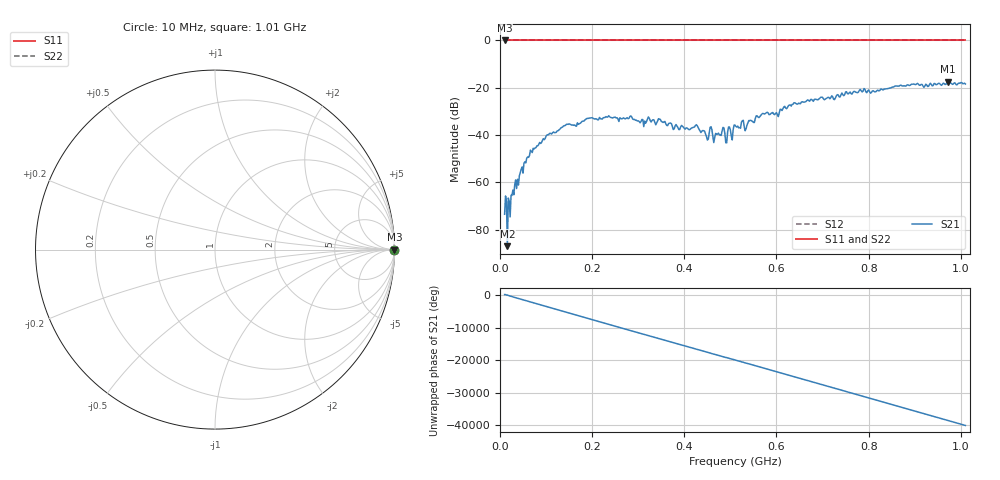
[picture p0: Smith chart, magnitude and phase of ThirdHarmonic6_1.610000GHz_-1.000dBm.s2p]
! 8/16/2025 7:12:50 PM
! C:\ANRITSUVNA\TEMP\TEMP.S2P
! CHANNEL.1
! TR.MEASUREMENT
! RAW.DATA
! RF.CORRECTION.OFF
! AVERAGING.OFF
! IF.BANDWIDTH: 5KHZ
! SWEEPTYPE:  FREQ.SWEEP(Linear)
! Reference Plane Port Info
! PORT:  PORT1  PORT2
! DISTANCE:  0  m  0  m
! TIME:  0  s  0  s
! PHASE.OFFSET:  0  deg.  0  deg.
! LOSS:  0  dB  0  dB
! REF.LOSS:  0  dB  0  dB
! REF.FREQ:  0  Hz  0  Hz
! Power Info
! POWER:  -20  dBm  -20  dBm
! EFF.POWER:  -20  dBm  -20  dBm
! SOURCE.ATTEN:  0  dB  0  dB
! TEST.ATTEN:  0  dB  0  dB
# GHZ S RI R 50.0
! FREQ.GHZ  S11RE  S11IM  S21RE  S21IM  S12RE  S12IM  S22RE  S22IM
!; PortSelection: Port_12
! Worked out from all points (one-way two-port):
!   501 points, 10 MHz to 1.01 GHz, reference 50 ohm
!   highest |S21| = -17.48 dB at 972 MHz (marker M1); lowest = -87.0 dB at 16 MHz (marker M2)
!   lowest |S11| = 0.0 dB at 10 MHz (marker M3)
!   |S11| at or under -10 dB: nowhere
!   |S22| runs from 0.0 to 0.0 dB; largest |S21 - S12| = 1.1
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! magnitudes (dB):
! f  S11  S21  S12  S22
! 10 MHz  0.0  -73.5  0.0  0.0
! 12 MHz  0.0  -65.8  0.0  0.0
! 16 MHz  0.0  -87.0  0.0  0.0
! 20 MHz  0.0  -67.9  0.0  0.0
! 30 MHz  0.0  -65.3  0.0  0.0
! 70 MHz  0.0  -47.4  0.0  0.0
! 106 MHz  0.0  -39.7  0.0  0.0
! 178 MHz  0.0  -34.2  0.0  0.0
! 234 MHz  0.0  -32.3  0.0  0.0
! 344 MHz  0.0  -33.1  0.0  0.0
! 388 MHz  0.0  -37.7  0.0  0.0
! 426 MHz  0.0  -35.6  0.0  0.0
! 450 MHz  0.0  -42.1  0.0  0.0
! 458 MHz  0.0  -36.5  0.0  0.0
! 466 MHz  0.0  -40.9  0.0  0.0
! 484 MHz  0.0  -36.8  0.0  0.0
! 492 MHz  0.0  -43.3  0.0  0.0
! 510 MHz  0.0  -35.8  0.0  0.0
! 678 MHz  0.0  -25.3  0.0  0.0
! 844 MHz  0.0  -20.3  0.0  0.0
! 972 MHz  0.0  -17.5  0.0  0.0
! 1.01 GHz  0.0  -18.4  0.0  0.0
